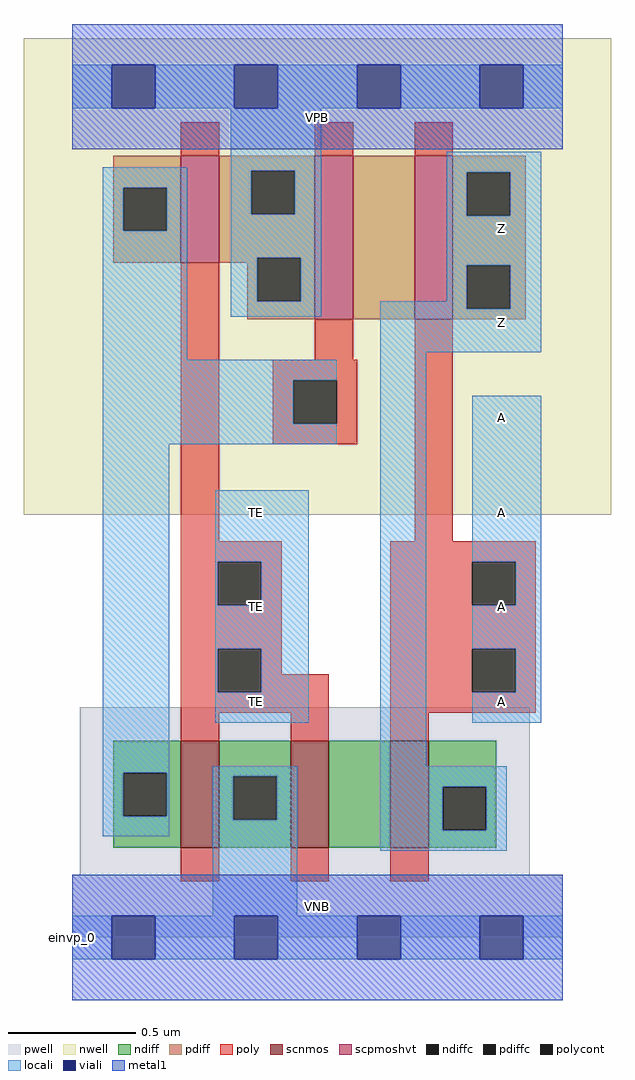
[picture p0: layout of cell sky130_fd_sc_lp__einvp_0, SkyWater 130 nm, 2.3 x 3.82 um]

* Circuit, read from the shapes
.subckt sky130_fd_sc_lp__einvp_0 A TE VGND VNB VPB VPWR Z
XM1 VGND TE n1 VNB sky130_fd_pr__nfet_01v8 w=0.42 l=0.15
XM2 n2 TE VGND VNB sky130_fd_pr__nfet_01v8 w=0.42 l=0.15
XM3 Z A n2 VNB sky130_fd_pr__nfet_01v8 w=0.42 l=0.15
XM4 VPWR TE n1 VPB sky130_fd_pr__pfet_01v8_hvt w=0.42 l=0.15
XM5 n3 n1 VPWR VPB sky130_fd_pr__pfet_01v8_hvt w=0.64 l=0.15
XM6 Z A n3 VPB sky130_fd_pr__pfet_01v8_hvt w=0.64 l=0.15
.ends

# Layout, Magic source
magic
tech sky130A
magscale 1 2
<< nwell >>
rect -38 331 422 704
<< pwell >>
rect 6 49 358 180
rect 0 0 384 49
<< scnmos >>
rect 85 70 115 154
rect 171 70 201 154
rect 249 70 279 154
<< scpmoshvt >>
rect 85 528 115 612
rect 190 484 220 612
rect 268 484 298 612
<< ndiff >>
rect 32 129 85 154
rect 32 95 40 129
rect 74 95 85 129
rect 32 70 85 95
rect 115 126 171 154
rect 115 92 126 126
rect 160 92 171 126
rect 115 70 171 92
rect 201 70 249 154
rect 279 118 332 154
rect 279 84 290 118
rect 324 84 332 118
rect 279 70 332 84
<< pdiff >>
rect 32 587 85 612
rect 32 553 40 587
rect 74 553 85 587
rect 32 528 85 553
rect 115 600 190 612
rect 115 566 140 600
rect 174 566 190 600
rect 115 532 190 566
rect 115 528 145 532
rect 137 498 145 528
rect 179 498 190 532
rect 137 484 190 498
rect 220 484 268 612
rect 298 599 355 612
rect 298 565 309 599
rect 343 565 355 599
rect 298 526 355 565
rect 298 492 309 526
rect 343 492 355 526
rect 298 484 355 492
<< ndiffc >>
rect 40 95 74 129
rect 126 92 160 126
rect 290 84 324 118
<< pdiffc >>
rect 40 553 74 587
rect 140 566 174 600
rect 145 498 179 532
rect 309 565 343 599
rect 309 492 343 526
<< poly >>
rect 85 612 115 638
rect 190 612 220 638
rect 268 612 298 638
rect 85 310 115 528
rect 190 452 220 484
rect 157 436 223 452
rect 157 402 173 436
rect 207 402 223 436
rect 157 386 223 402
rect 268 310 298 484
rect 85 294 164 310
rect 85 260 114 294
rect 148 260 164 294
rect 85 226 164 260
rect 85 192 114 226
rect 148 206 164 226
rect 249 294 363 310
rect 249 260 313 294
rect 347 260 363 294
rect 249 226 363 260
rect 148 192 201 206
rect 85 176 201 192
rect 85 154 115 176
rect 171 154 201 176
rect 249 192 313 226
rect 347 192 363 226
rect 249 176 363 192
rect 249 154 279 176
rect 85 44 115 70
rect 171 44 201 70
rect 249 44 279 70
<< polycont >>
rect 173 402 207 436
rect 114 260 148 294
rect 114 192 148 226
rect 313 260 347 294
rect 313 192 347 226
<< locali >>
rect 0 649 31 683
rect 65 649 127 683
rect 161 649 223 683
rect 257 649 319 683
rect 353 649 384 683
rect 24 587 90 603
rect 24 553 40 587
rect 74 553 90 587
rect 24 452 90 553
rect 124 600 195 649
rect 124 566 140 600
rect 174 566 195 600
rect 124 532 195 566
rect 124 498 145 532
rect 179 498 195 532
rect 293 599 367 615
rect 293 565 309 599
rect 343 565 367 599
rect 293 526 367 565
rect 293 498 309 526
rect 124 486 195 498
rect 241 492 309 498
rect 343 492 367 526
rect 241 458 367 492
rect 24 436 207 452
rect 24 402 173 436
rect 24 386 207 402
rect 24 129 76 386
rect 112 294 185 350
rect 112 260 114 294
rect 148 260 185 294
rect 112 226 185 260
rect 112 192 114 226
rect 148 192 185 226
rect 112 168 185 192
rect 241 134 277 458
rect 313 294 367 424
rect 347 260 367 294
rect 313 226 367 260
rect 347 192 367 226
rect 313 168 367 192
rect 24 95 40 129
rect 74 95 76 129
rect 24 79 76 95
rect 110 126 176 134
rect 110 92 126 126
rect 160 92 176 126
rect 110 17 176 92
rect 241 118 340 134
rect 241 84 290 118
rect 324 84 340 118
rect 241 68 340 84
rect 0 -17 31 17
rect 65 -17 127 17
rect 161 -17 223 17
rect 257 -17 319 17
rect 353 -17 384 17
<< viali >>
rect 31 649 65 683
rect 127 649 161 683
rect 223 649 257 683
rect 319 649 353 683
rect 31 -17 65 17
rect 127 -17 161 17
rect 223 -17 257 17
rect 319 -17 353 17
<< metal1 >>
rect 0 683 384 715
rect 0 649 31 683
rect 65 649 127 683
rect 161 649 223 683
rect 257 649 319 683
rect 353 649 384 683
rect 0 617 384 649
rect 0 17 384 49
rect 0 -17 31 17
rect 65 -17 127 17
rect 161 -17 223 17
rect 257 -17 319 17
rect 353 -17 384 17
rect 0 -49 384 -17
<< labels >>
flabel pwell s 0 0 384 49 0 FreeSans 200 0 0 0 VNB
port 4 nsew ground bidirectional
flabel nwell s 0 617 384 666 0 FreeSans 200 0 0 0 VPB
port 5 nsew power bidirectional
rlabel comment s 0 0 0 0 4 einvp_0
flabel metal1 s 0 617 384 666 0 FreeSans 340 0 0 0 VPWR
port 6 nsew power bidirectional
flabel metal1 s 0 0 384 49 0 FreeSans 340 0 0 0 VGND
port 3 nsew ground bidirectional
flabel locali s 319 168 353 202 0 FreeSans 340 0 0 0 A
port 1 nsew signal input
flabel locali s 319 242 353 276 0 FreeSans 340 0 0 0 A
port 1 nsew signal input
flabel locali s 319 316 353 350 0 FreeSans 340 0 0 0 A
port 1 nsew signal input
flabel locali s 319 390 353 424 0 FreeSans 340 0 0 0 A
port 1 nsew signal input
flabel locali s 127 168 161 202 0 FreeSans 340 0 0 0 TE
port 2 nsew signal input
flabel locali s 127 242 161 276 0 FreeSans 340 0 0 0 TE
port 2 nsew signal input
flabel locali s 127 316 161 350 0 FreeSans 340 0 0 0 TE
port 2 nsew signal input
flabel locali s 319 464 353 498 0 FreeSans 340 0 0 0 Z
port 7 nsew signal output
flabel locali s 319 538 353 572 0 FreeSans 340 0 0 0 Z
port 7 nsew signal output
<< properties >>
string LEFsite unit
string LEFclass CORE
string FIXED_BBOX 0 0 384 666
string GDS_FILE $PDKPATH/libs.ref/sky130_fd_sc_lp/gds/sky130_fd_sc_lp.gds
string LEFsymmetry X Y R90
string GDS_END 3016146
string GDS_START 3011350
<< end >>
